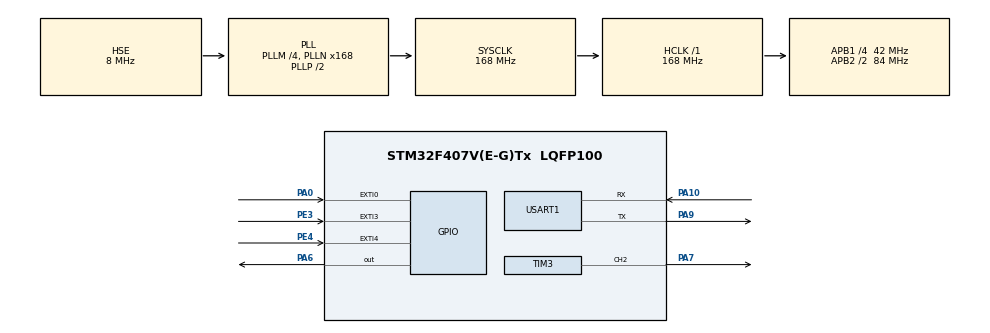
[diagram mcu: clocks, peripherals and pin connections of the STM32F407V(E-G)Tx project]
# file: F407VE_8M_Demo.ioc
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Mcu.Family=STM32F4
PE3.GPIO_ModeDefaultEXTI=GPIO_MODE_IT_FALLING
RCC.PLLSourceVirtual=RCC_PLLSOURCE_HSE
NVIC.EXTI4_IRQn=true\:0\:0\:false\:false\:true\:true\:true
PH0-OSC_IN.Signal=RCC_OSC_IN
RCC.CortexFreq_Value=168000000
PA10.Mode=Asynchronous
TIM3.AutoReloadPreload=TIM_AUTORELOAD_PRELOAD_ENABLE
PE4.GPIO_ModeDefaultEXTI=GPIO_MODE_IT_FALLING
NVIC.EXTI3_IRQn=true\:0\:0\:false\:false\:true\:true\:true
PA6.PinState=GPIO_PIN_SET
RCC.APB1CLKDivider=RCC_HCLK_DIV4
RCC.SYSCLKSource=RCC_SYSCLKSOURCE_PLLCLK
ProjectManager.StackSize=0x400
PA0-WKUP.Signal=GPXTI0
PA13.Signal=SYS_JTMS-SWDIO
TIM1.AutoReloadPreload=TIM_AUTORELOAD_PRELOAD_ENABLE
PA9.Mode=Asynchronous
TIM1.Prescaler=16799
ProjectManager.TargetToolchain=MDK-ARM V5.27
RCC.HCLKFreq_Value=168000000
RCC.APB2TimFreq_Value=168000000
TIM3.Period=500
PA9.Signal=USART1_TX
RCC.LSE_VALUE=32768
PA7.GPIO_PuPd=GPIO_PULLUP
RCC.AHBFreq_Value=168000000
PH0-OSC_IN.Mode=HSE-External-Oscillator
SH.S_TIM3_CH2.0=TIM3_CH2,PWM Generation2 CH2
RCC.HSE_VALUE=8000000
board=custom
RCC.VCOOutputFreq_Value=336000000
PA7.GPIO_Speed=GPIO_SPEED_FREQ_VERY_HIGH
TIM1.TIM_MasterOutputTrigger=TIM_TRGO_UPDATE
RCC.APB2Freq_Value=84000000
PA6.GPIO_PuPd=GPIO_PULLUP
PA14.Mode=Serial_Wire
TIM3.Prescaler=167
PE3.GPIO_PuPd=GPIO_PULLUP
PH1-OSC_OUT.Signal=RCC_OSC_OUT
PA13.Mode=Serial_Wire
PE4.Signal=GPXTI4
Mcu.Name=STM32F407V(E-G)Tx
VP_TIM1_VS_ClockSourceINT.Mode=Internal
PE4.GPIO_PuPd=GPIO_PULLUP
TIM3.OCPolarity_2=TIM_OCPOLARITY_LOW
PH1-OSC_OUT.Mode=HSE-External-Oscillator
RCC.48MHZClocksFreq_Value=84000000
NVIC.EXTI0_IRQn=true\:0\:0\:false\:false\:true\:true\:true
RCC.SYSCLKFreq_VALUE=168000000
Mcu.Package=LQFP100
PA6.Signal=GPIO_Output
USART1.VirtualMode=VM_ASYNC
PA10.Signal=USART1_RX
PA14.Signal=SYS_JTCK-SWCLK
ProjectManager.HeapSize=0x200
NVIC.TIM1_UP_TIM10_IRQn=true\:3\:0\:true\:false\:true\:true\:true
RCC.HSI_VALUE=16000000
NVIC.PriorityGroup=NVIC_PRIORITYGROUP_4
RCC.APB2CLKDivider=RCC_HCLK_DIV2
TIM3.Channel-PWM\ Generation2\ CH2=TIM_CHANNEL_2
RCC.PLLM=4
RCC.PLLN=168
RCC.APB1TimFreq_Value=84000000
PE3.Signal=GPXTI3
PA0-WKUP.GPIO_PuPd=GPIO_PULLDOWN
TIM1.Period=2500
PA6.GPIO_Speed=GPIO_SPEED_FREQ_VERY_HIGH
NVIC.USART1_IRQn=true\:0\:0\:false\:false\:true\:true\:true
RCC.APB1Freq_Value=42000000
VP_TIM3_VS_ClockSourceINT.Mode=Internal
PA7.Signal=S_TIM3_CH2

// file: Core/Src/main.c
/* USER CODE BEGIN Header */
/**
  ******************************************************************************
  * @file           : main.c
  * @brief          : Main program body
  ******************************************************************************
  * @attention
  *
  * <h2><center>&copy; Copyright (c) 2020 STMicroelectronics.
  * All rights reserved.</center></h2>
  *
  * This software component is licensed by ST under BSD 3-Clause license,
  * the "License"; You may not use this file except in compliance with the
  * License. You may obtain a copy of the License at:
  *                        opensource.org/licenses/BSD-3-Clause
  *
  ******************************************************************************
  */
/* USER CODE END Header */
#include "main.h"
#include "tim.h"
#include "usart.h"
#include "gpio.h"

/* USER CODE BEGIN Includes */
#include "DELAY/delay.h"
#include "OLED/oled_iic.h"
/* USER CODE END Includes */

/* USER CODE BEGIN PV */
int d3_delta=1;
int d3_speed=500;
int d3_threshold=1;
uint8_t d2_state=0;

/* USER CODE END PV */

void SystemClock_Config(void);

int main(void)
{

  /* MCU Configuration--------------------------------------------------------*/

  /* Reset of all peripherals, Initializes the Flash interface and the Systick. */
  HAL_Init();

  /* Configure the system clock */
  SystemClock_Config();

  /* Initialize all configured peripherals */
  MX_GPIO_Init();
  MX_USART1_UART_Init();
  MX_TIM3_Init();
  MX_TIM1_Init();
  /* USER CODE BEGIN 2 */
  Delay_Init(168);
  OLED_Init();
  OLED_CLS();
  OLED_ShowStr(0,0,"Hello!",TEXTSIZE_BIG,REVERSE_OFF);
  OLED_ShowStr(0,2,"D2 State:",TEXTSIZE_BIG,REVERSE_OFF);
  OLED_ShowStr(0,4,"D3 Speed:",TEXTSIZE_BIG,REVERSE_OFF);
  Delay_ms(500);
  HAL_TIM_Base_Start_IT(&htim1);
  HAL_TIM_PWM_Start(&htim3,TIM_CHANNEL_2);

  /* USER CODE END 2 */

  /* Infinite loop */
  while (1)
  {

    /* USER CODE BEGIN 3 */
    Delay_us(d3_speed);
    if(d3_threshold>=400 || d3_threshold<=0)
      d3_delta=-d3_delta;
    d3_threshold+=d3_delta;
    __HAL_TIM_SET_COMPARE(&htim3, TIM_CHANNEL_2, d3_threshold);
  }
  /* USER CODE END 3 */
}

void SystemClock_Config(void)
{
  RCC_OscInitTypeDef RCC_OscInitStruct = {0};
  RCC_ClkInitTypeDef RCC_ClkInitStruct = {0};

  /** Configure the main internal regulator output voltage
  */
  __HAL_RCC_PWR_CLK_ENABLE();
  __HAL_PWR_VOLTAGESCALING_CONFIG(PWR_REGULATOR_VOLTAGE_SCALE1);
  /** Initializes the RCC Oscillators according to the specified parameters
  * in the RCC_OscInitTypeDef structure.
  */
  RCC_OscInitStruct.OscillatorType = RCC_OSCILLATORTYPE_HSE;
  RCC_OscInitStruct.HSEState = RCC_HSE_ON;
  RCC_OscInitStruct.PLL.PLLState = RCC_PLL_ON;
  RCC_OscInitStruct.PLL.PLLSource = RCC_PLLSOURCE_HSE;
  RCC_OscInitStruct.PLL.PLLM = 4;
  RCC_OscInitStruct.PLL.PLLN = 168;
  RCC_OscInitStruct.PLL.PLLP = RCC_PLLP_DIV2;
  RCC_OscInitStruct.PLL.PLLQ = 4;
  if (HAL_RCC_OscConfig(&RCC_OscInitStruct) != HAL_OK)
  {
    Error_Handler();
  }
  /** Initializes the CPU, AHB and APB buses clocks
  */
  RCC_ClkInitStruct.ClockType = RCC_CLOCKTYPE_HCLK|RCC_CLOCKTYPE_SYSCLK
                              |RCC_CLOCKTYPE_PCLK1|RCC_CLOCKTYPE_PCLK2;
  RCC_ClkInitStruct.SYSCLKSource = RCC_SYSCLKSOURCE_PLLCLK;
  RCC_ClkInitStruct.AHBCLKDivider = RCC_SYSCLK_DIV1;
  RCC_ClkInitStruct.APB1CLKDivider = RCC_HCLK_DIV4;
  RCC_ClkInitStruct.APB2CLKDivider = RCC_HCLK_DIV2;

  if (HAL_RCC_ClockConfig(&RCC_ClkInitStruct, FLASH_LATENCY_5) != HAL_OK)
  {
    Error_Handler();
  }
}

void Error_Handler(void)
{
}

/************************ (C) COPYRIGHT STMicroelectronics *****END OF FILE****/
